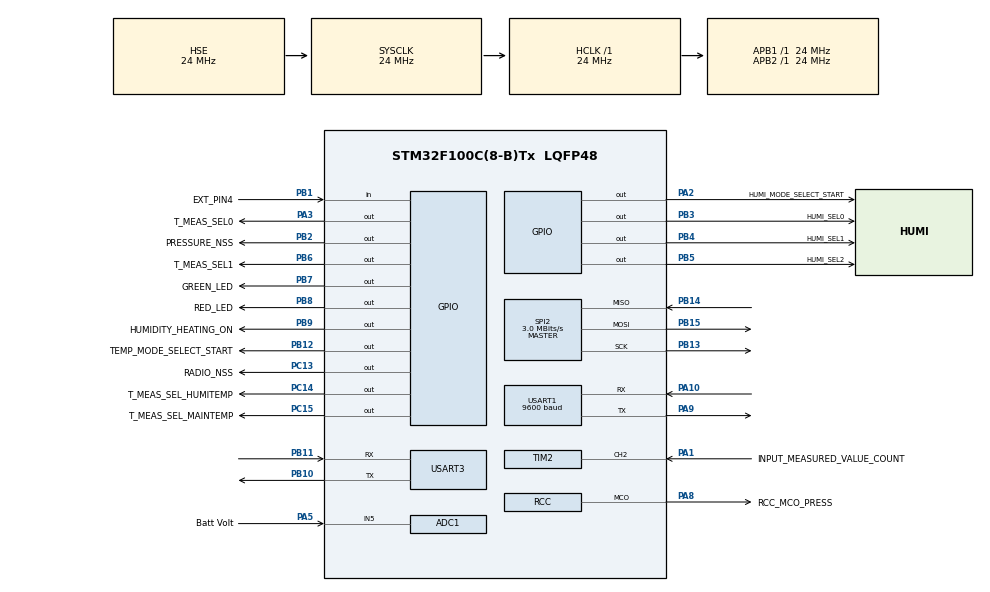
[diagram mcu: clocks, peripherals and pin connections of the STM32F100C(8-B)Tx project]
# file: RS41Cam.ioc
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ADC1.Channel-0\#ChannelRegularConversion=ADC_CHANNEL_5
ADC1.NbrOfConversionFlag=1
ADC1.Rank-0\#ChannelRegularConversion=1
ADC1.SamplingTime-0\#ChannelRegularConversion=ADC_SAMPLETIME_1CYCLE_5
ADC1.master=1
Mcu.Family=STM32F1
Mcu.Name=STM32F100C(8-B)Tx
Mcu.Package=LQFP48
NVIC.PriorityGroup=NVIC_PRIORITYGROUP_4
NVIC.TIM2_IRQn=true\:0\:0\:false\:false\:true\:true\:true\:true
NVIC.TIM6_DAC_IRQn=true\:15\:0\:false\:false\:true\:false\:true\:true
NVIC.TIM7_IRQn=true\:0\:0\:false\:false\:true\:true\:true\:true
NVIC.TimeBase=TIM6_DAC_IRQn
NVIC.TimeBaseIP=TIM6
PA1.GPIO_Label=INPUT_MEASURED_VALUE_COUNT
PA1.GPIO_Mode=GPIO_MODE_INPUT
PA1.GPIO_PuPd=GPIO_NOPULL
PA1.Signal=S_TIM2_CH2
PA10.Mode=Asynchronous
PA10.Signal=USART1_RX
PA13.Mode=Serial_Wire
PA13.Signal=SYS_JTMS-SWDIO
PA14.Mode=Serial_Wire
PA14.Signal=SYS_JTCK-SWCLK
PA2.GPIO_Label=HUMI_MODE_SELECT_START
PA2.GPIO_PuPd=GPIO_NOPULL
PA2.PinState=GPIO_PIN_RESET
PA2.Signal=GPIO_Output
PA3.GPIO_Label=T_MEAS_SEL0
PA3.Signal=GPIO_Output
PA5.GPIO_Label=Batt Volt
PA5.Signal=ADCx_IN5
PA8.GPIO_Label=RCC_MCO_PRESS
PA8.Mode=Clock-out
PA8.Signal=RCC_MCO
PA9.Mode=Asynchronous
PA9.Signal=USART1_TX
PB1.GPIO_Label=EXT_PIN4
PB1.Signal=GPIO_Input
PB10.Mode=Asynchronous
PB10.Signal=USART3_TX
PB11.Mode=Asynchronous
PB11.Signal=USART3_RX
PB12.GPIO_Label=TEMP_MODE_SELECT_START
PB12.GPIO_PuPd=GPIO_NOPULL
PB12.Signal=GPIO_Output
PB13.Mode=Full_Duplex_Master
PB13.Signal=SPI2_SCK
PB14.Mode=Full_Duplex_Master
PB14.Signal=SPI2_MISO
PB15.Mode=Full_Duplex_Master
PB15.Signal=SPI2_MOSI
PB2.GPIO_Label=PRESSURE_NSS
PB2.Signal=GPIO_Output
PB3.GPIO_Label=HUMI_SEL0
PB3.Signal=GPIO_Output
PB4.GPIO_Label=HUMI_SEL1
PB4.Signal=GPIO_Output
PB5.GPIO_Label=HUMI_SEL2
PB5.Signal=GPIO_Output
PB6.GPIO_Label=T_MEAS_SEL1
PB6.Signal=GPIO_Output
PB7.GPIO_Label=GREEN_LED
PB7.Signal=GPIO_Output
PB8.GPIO_Label=RED_LED
PB8.Signal=GPIO_Output
PB9.GPIO_Label=HUMIDITY_HEATING_ON
PB9.Signal=GPIO_Output
PC13-TAMPER-RTC.GPIO_Label=RADIO_NSS
PC13-TAMPER-RTC.Signal=GPIO_Output
PC14-OSC32_IN.GPIO_Label=T_MEAS_SEL_HUMITEMP
PC14-OSC32_IN.Signal=GPIO_Output
PC15-OSC32_OUT.GPIO_Label=T_MEAS_SEL_MAINTEMP
PC15-OSC32_OUT.Signal=GPIO_Output
PD0-OSC_IN.Mode=HSE-External-Oscillator
PD0-OSC_IN.Signal=RCC_OSC_IN
PD1-OSC_OUT.Mode=HSE-External-Oscillator
PD1-OSC_OUT.Signal=RCC_OSC_OUT
ProjectManager.HeapSize=0x200
ProjectManager.StackSize=0x400
ProjectManager.TargetToolchain=STM32CubeIDE
RCC.AHBFreq_Value=24000000
RCC.APB1Freq_Value=24000000
RCC.APB1TimFreq_Value=24000000
RCC.APB2Freq_Value=24000000
RCC.APB2TimFreq_Value=24000000
RCC.HCLKFreq_Value=24000000
RCC.HSEDivPLL=RCC_HSE_PREDIV_DIV2
RCC.HSE_VALUE=24000000
RCC.PLLSource=RCC_PLLSOURCE_HSE
RCC.RCC_MCOSource=RCC_MCO1SOURCE_HSE
RCC.SYSCLKFreq_VALUE=24000000
RCC.SYSCLKSource=RCC_SYSCLKSOURCE_HSE
SH.ADCx_IN5.0=ADC1_IN5,IN5
SH.S_TIM2_CH2.0=TIM2_CH2,Input_Capture2_from_TI2
SPI2.BaudRatePrescaler=SPI_BAUDRATEPRESCALER_8
SPI2.CalculateBaudRate=3.0 MBits/s
SPI2.Direction=SPI_DIRECTION_2LINES
SPI2.Mode=SPI_MODE_MASTER
SPI2.VirtualType=VM_MASTER
TIM2.Channel-Input_Capture2_from_TI2=TIM_CHANNEL_2
TIM2.Prescaler=0
TIM7.Period=1000
TIM7.Prescaler=23999
USART1.BaudRate=9600
USART1.VirtualMode=VM_ASYNC
USART3.VirtualMode=VM_ASYNC
VP_SYS_VS_tim6.Mode=TIM6
VP_TIM2_VS_ClockSourceINT.Mode=Internal
VP_TIM7_VS_ClockSourceINT.Mode=Enable_Timer
board=custom

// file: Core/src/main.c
/* USER CODE BEGIN Header */
/**
  ******************************************************************************
  * @file           : main.c
  * @brief          : Main program body
  ******************************************************************************
  * @attention
  *
  * <h2><center>&copy; Copyright (c) 2021 STMicroelectronics.
  * All rights reserved.</center></h2>
  *
  * This software component is licensed by ST under BSD 3-Clause license,
  * the "License"; You may not use this file except in compliance with the
  * License. You may obtain a copy of the License at:
  *                        opensource.org/licenses/BSD-3-Clause
  *
  ******************************************************************************
  */
/* USER CODE END Header */
#include "main.h"

/* USER CODE BEGIN Includes */
#include <string.h>
#include <stdlib.h>
#include <ublox.h>
#include "cam.h"
#include "led.h"
#include "radio.h"
#include "callSign.h"
#include "info.h"
#include "batt.h"
#include "internalTemp.h"
#include "pressure.h"
#include "Setup_Si4032.h"
#include "RPM411.h"
#include "config.h"

/* USER CODE END Includes */

ADC_HandleTypeDef hadc1;

SPI_HandleTypeDef hspi2;

TIM_HandleTypeDef htim2;
TIM_HandleTypeDef htim7;

UART_HandleTypeDef huart1;
UART_HandleTypeDef huart3;

void SystemClock_Config(void);
static void MX_GPIO_Init(void);
static void MX_SPI2_Init(void);
static void MX_USART1_UART_Init(void);
static void MX_ADC1_Init(void);
static void MX_USART3_UART_Init(void);
static void MX_TIM2_Init(void);
static void MX_TIM7_Init(void);

/* USER CODE BEGIN 0 */

int oneSecTic	    			= 0;

int resetSI4032			        = 0;
int sendGPSInfo					= 0;
int sendInfo					= 1;
int sendCallSignInfo			= 1;
int sendBattInfo    			= 1;
int sendInternalTemperatureInfo = 0;
#ifdef RPM411
int sendPressureInfo         	= 0;
#endif

void HAL_TIM_IC_CaptureCallback(TIM_HandleTypeDef *htim)
{

}

/* USER CODE END 0 */

int main(void)
{

  /* USER CODE BEGIN 1 */
  HAL_StatusTypeDef HAL_Status;

  uint8_t *camChunkBuf = NULL;

  GPS_StatusTypeDef gpsStatus	   = GPS_OK;

#ifdef RPM411
  RPM411StatusTypeDef RPM411Status = RPM411_OK;
#endif

  /* USER CODE END 1 */

  /* MCU Configuration--------------------------------------------------------*/

  /* Reset of all peripherals, Initializes the Flash interface and the Systick. */
  HAL_Init();

  /* Configure the system clock */
  SystemClock_Config();

  /* Initialize all configured peripherals */
  MX_GPIO_Init();
  MX_SPI2_Init();
  MX_USART1_UART_Init();
  MX_ADC1_Init();
  MX_USART3_UART_Init();
  MX_TIM2_Init();
  MX_TIM7_Init();
  /* USER CODE BEGIN 2 */

  struct rscode_driver rsDriver;

  camChunkBuf = (uint8_t*)calloc(CHUNCK_SIZE, sizeof(uint8_t));

  HAL_GPIO_WritePin(GPIOB, GREEN_LED_Pin, GPIO_PIN_RESET);
  HAL_Delay(4000); // For Cam POR
  HAL_GPIO_WritePin(GPIOB, RED_LED_Pin, GPIO_PIN_SET);

  gpsStatus = setGPS_DynamicModel6(&huart1); // - 6 􀀀 Airborne with <1g Acceleration HAB
  while(gpsStatus == GPS_FAIL)
  {
     gpsStatus = setGPS_DynamicModel6(&huart1);
	 HAL_GPIO_TogglePin(GPIOB, GREEN_LED_Pin);
  }

  gpsStatus = disableNMEA(&huart1);
  if(gpsStatus != GPS_FAIL)
  {
     // Nothing we can do
	 gpsStatus  = GPS_FAIL;
  }

  rscode_init(&rsDriver);

#ifdef RPM411
	RPM411Status = RPM411Init(&hspi2);
#endif

	HAL_Status = HAL_ERROR;
	while(HAL_Status != HAL_OK)
	{
		HAL_Status = setupRadio(&hspi2);
	}

	HAL_Status = clearRadio();

  /* USER CODE END 2 */

  /* Infinite loop */
  while (1)
  {

    /* USER CODE BEGIN 3 */
	    /* USER CODE END WHILE */

	if(resetSI4032)
	{
		HAL_Status = HAL_ERROR;
		while(HAL_Status != HAL_OK)
		{
			HAL_Status = setupRadio(&hspi2);
			HAL_Status = setRadio();
		}

		resetSI4032 = 0;
	}

	if(sendGPSInfo == 1)
	{
		processGPS(&rsDriver,&huart1);
		sendGPSInfo 	= 0;
	}

	if(sendInfo)
	{
		processInfo(&rsDriver);
		sendInfo = 0;
	}

	if(sendCallSignInfo)
	{
		processCallSign(&rsDriver);
		sendCallSignInfo = 0;
	}

	if(sendBattInfo)
	{
		processBattery(&rsDriver,&hadc1);
		HAL_Status = setRadio();
		sendBattInfo    = 0;
	}

	if(sendInternalTemperatureInfo)
	{
		processInternalTemp(&rsDriver);
		sendInternalTemperatureInfo = 0;
	}

#ifdef RPM411
	if(RPM411Status == RPM411_OK)
	{
		if(sendPressureInfo)
		{
			processPressure(&rsDriver);
			sendPressureInfo = 0;
		}
	}
#endif

	processCAM(&huart3,&rsDriver,camChunkBuf);

  }
  /* USER CODE END 3 */
}

void SystemClock_Config(void)
{
  RCC_OscInitTypeDef RCC_OscInitStruct = {0};
  RCC_ClkInitTypeDef RCC_ClkInitStruct = {0};
  RCC_PeriphCLKInitTypeDef PeriphClkInit = {0};

  /** Initializes the RCC Oscillators according to the specified parameters
  * in the RCC_OscInitTypeDef structure.
  */
  RCC_OscInitStruct.OscillatorType = RCC_OSCILLATORTYPE_HSE;
  RCC_OscInitStruct.HSEState = RCC_HSE_ON;
  RCC_OscInitStruct.PLL.PLLState = RCC_PLL_NONE;
  if (HAL_RCC_OscConfig(&RCC_OscInitStruct) != HAL_OK)
  {
    Error_Handler();
  }

  /** Initializes the CPU, AHB and APB buses clocks
  */
  RCC_ClkInitStruct.ClockType = RCC_CLOCKTYPE_HCLK|RCC_CLOCKTYPE_SYSCLK
                              |RCC_CLOCKTYPE_PCLK1|RCC_CLOCKTYPE_PCLK2;
  RCC_ClkInitStruct.SYSCLKSource = RCC_SYSCLKSOURCE_HSE;
  RCC_ClkInitStruct.AHBCLKDivider = RCC_SYSCLK_DIV1;
  RCC_ClkInitStruct.APB1CLKDivider = RCC_HCLK_DIV1;
  RCC_ClkInitStruct.APB2CLKDivider = RCC_HCLK_DIV1;

  if (HAL_RCC_ClockConfig(&RCC_ClkInitStruct, FLASH_LATENCY_0) != HAL_OK)
  {
    Error_Handler();
  }
  PeriphClkInit.PeriphClockSelection = RCC_PERIPHCLK_ADC;
  PeriphClkInit.AdcClockSelection = RCC_ADCPCLK2_DIV2;
  if (HAL_RCCEx_PeriphCLKConfig(&PeriphClkInit) != HAL_OK)
  {
    Error_Handler();
  }
  HAL_RCC_MCOConfig(RCC_MCO, RCC_MCO1SOURCE_HSE, RCC_MCODIV_1);
}

static void MX_ADC1_Init(void)
{

  ADC_ChannelConfTypeDef sConfig = {0};

  /** Common config
  */
  hadc1.Instance = ADC1;
  hadc1.Init.ScanConvMode = ADC_SCAN_DISABLE;
  hadc1.Init.ContinuousConvMode = DISABLE;
  hadc1.Init.DiscontinuousConvMode = DISABLE;
  hadc1.Init.ExternalTrigConv = ADC_SOFTWARE_START;
  hadc1.Init.DataAlign = ADC_DATAALIGN_RIGHT;
  hadc1.Init.NbrOfConversion = 1;
  if (HAL_ADC_Init(&hadc1) != HAL_OK)
  {
    Error_Handler();
  }

  /** Configure Regular Channel
  */
  sConfig.Channel = ADC_CHANNEL_5;
  sConfig.Rank = ADC_REGULAR_RANK_1;
  sConfig.SamplingTime = ADC_SAMPLETIME_1CYCLE_5;
  if (HAL_ADC_ConfigChannel(&hadc1, &sConfig) != HAL_OK)
  {
    Error_Handler();
  }

}

static void MX_SPI2_Init(void)
{

  /* SPI2 parameter configuration*/
  hspi2.Instance = SPI2;
  hspi2.Init.Mode = SPI_MODE_MASTER;
  hspi2.Init.Direction = SPI_DIRECTION_2LINES;
  hspi2.Init.DataSize = SPI_DATASIZE_8BIT;
  hspi2.Init.CLKPolarity = SPI_POLARITY_LOW;
  hspi2.Init.CLKPhase = SPI_PHASE_1EDGE;
  hspi2.Init.NSS = SPI_NSS_SOFT;
  hspi2.Init.BaudRatePrescaler = SPI_BAUDRATEPRESCALER_8;
  hspi2.Init.FirstBit = SPI_FIRSTBIT_MSB;
  hspi2.Init.TIMode = SPI_TIMODE_DISABLE;
  hspi2.Init.CRCCalculation = SPI_CRCCALCULATION_DISABLE;
  hspi2.Init.CRCPolynomial = 10;
  if (HAL_SPI_Init(&hspi2) != HAL_OK)
  {
    Error_Handler();
  }

}

static void MX_TIM2_Init(void)
{

  TIM_ClockConfigTypeDef sClockSourceConfig = {0};
  TIM_MasterConfigTypeDef sMasterConfig = {0};
  TIM_IC_InitTypeDef sConfigIC = {0};

  htim2.Instance = TIM2;
  htim2.Init.Prescaler = 0;
  htim2.Init.CounterMode = TIM_COUNTERMODE_UP;
  htim2.Init.Period = 65535;
  htim2.Init.ClockDivision = TIM_CLOCKDIVISION_DIV1;
  htim2.Init.AutoReloadPreload = TIM_AUTORELOAD_PRELOAD_DISABLE;
  if (HAL_TIM_Base_Init(&htim2) != HAL_OK)
  {
    Error_Handler();
  }
  sClockSourceConfig.ClockSource = TIM_CLOCKSOURCE_INTERNAL;
  if (HAL_TIM_ConfigClockSource(&htim2, &sClockSourceConfig) != HAL_OK)
  {
    Error_Handler();
  }
  if (HAL_TIM_IC_Init(&htim2) != HAL_OK)
  {
    Error_Handler();
  }
  sMasterConfig.MasterOutputTrigger = TIM_TRGO_RESET;
  sMasterConfig.MasterSlaveMode = TIM_MASTERSLAVEMODE_DISABLE;
  if (HAL_TIMEx_MasterConfigSynchronization(&htim2, &sMasterConfig) != HAL_OK)
  {
    Error_Handler();
  }
  sConfigIC.ICPolarity = TIM_INPUTCHANNELPOLARITY_RISING;
  sConfigIC.ICSelection = TIM_ICSELECTION_DIRECTTI;
  sConfigIC.ICPrescaler = TIM_ICPSC_DIV1;
  sConfigIC.ICFilter = 0;
  if (HAL_TIM_IC_ConfigChannel(&htim2, &sConfigIC, TIM_CHANNEL_2) != HAL_OK)
  {
    Error_Handler();
  }
  /* USER CODE BEGIN TIM2_Init 2 */

  if (HAL_TIM_IC_Start_IT(&htim2, TIM_CHANNEL_2) != HAL_OK)
  {
    Error_Handler();
  }

  /* USER CODE END TIM2_Init 2 */

}

static void MX_TIM7_Init(void)
{

  TIM_MasterConfigTypeDef sMasterConfig = {0};

  htim7.Instance = TIM7;
  htim7.Init.Prescaler = 23999;
  htim7.Init.CounterMode = TIM_COUNTERMODE_UP;
  htim7.Init.Period = 1000;
  htim7.Init.AutoReloadPreload = TIM_AUTORELOAD_PRELOAD_DISABLE;
  if (HAL_TIM_Base_Init(&htim7) != HAL_OK)
  {
    Error_Handler();
  }
  sMasterConfig.MasterOutputTrigger = TIM_TRGO_RESET;
  sMasterConfig.MasterSlaveMode = TIM_MASTERSLAVEMODE_DISABLE;
  if (HAL_TIMEx_MasterConfigSynchronization(&htim7, &sMasterConfig) != HAL_OK)
  {
    Error_Handler();
  }
  /* USER CODE BEGIN TIM7_Init 2 */

  if (HAL_TIM_Base_Start_IT(&htim7) != HAL_OK)
  {
    Error_Handler();
  }

  /* USER CODE END TIM7_Init 2 */

}

static void MX_USART1_UART_Init(void)
{

  huart1.Instance = USART1;
  huart1.Init.BaudRate = 9600;
  huart1.Init.WordLength = UART_WORDLENGTH_8B;
  huart1.Init.StopBits = UART_STOPBITS_1;
  huart1.Init.Parity = UART_PARITY_NONE;
  huart1.Init.Mode = UART_MODE_TX_RX;
  huart1.Init.HwFlowCtl = UART_HWCONTROL_NONE;
  huart1.Init.OverSampling = UART_OVERSAMPLING_16;
  if (HAL_UART_Init(&huart1) != HAL_OK)
  {
    Error_Handler();
  }

}

static void MX_USART3_UART_Init(void)
{

  huart3.Instance = USART3;
  huart3.Init.BaudRate = 115200;
  huart3.Init.WordLength = UART_WORDLENGTH_8B;
  huart3.Init.StopBits = UART_STOPBITS_1;
  huart3.Init.Parity = UART_PARITY_NONE;
  huart3.Init.Mode = UART_MODE_TX_RX;
  huart3.Init.HwFlowCtl = UART_HWCONTROL_NONE;
  huart3.Init.OverSampling = UART_OVERSAMPLING_16;
  if (HAL_UART_Init(&huart3) != HAL_OK)
  {
    Error_Handler();
  }

}

static void MX_GPIO_Init(void)
{
  GPIO_InitTypeDef GPIO_InitStruct = {0};

  /* GPIO Ports Clock Enable */
  __HAL_RCC_GPIOC_CLK_ENABLE();
  __HAL_RCC_GPIOD_CLK_ENABLE();
  __HAL_RCC_GPIOA_CLK_ENABLE();
  __HAL_RCC_GPIOB_CLK_ENABLE();

  /*Configure GPIO pin Output Level */
  HAL_GPIO_WritePin(GPIOC, RADIO_NSS_Pin|T_MEAS_SEL_HUMITEMP_Pin|T_MEAS_SEL_MAINTEMP_Pin, GPIO_PIN_RESET);

  /*Configure GPIO pin Output Level */
  HAL_GPIO_WritePin(GPIOA, HUMI_MODE_SELECT_START_Pin|T_MEAS_SEL0_Pin, GPIO_PIN_RESET);

  /*Configure GPIO pin Output Level */
  HAL_GPIO_WritePin(GPIOB, PRESSURE_NSS_Pin|TEMP_MODE_SELECT_START_Pin|HUMI_SEL0_Pin|HUMI_SEL1_Pin
                          |HUMI_SEL2_Pin|T_MEAS_SEL1_Pin|GREEN_LED_Pin|RED_LED_Pin
                          |HUMIDITY_HEATING_ON_Pin, GPIO_PIN_RESET);

  /*Configure GPIO pins : RADIO_NSS_Pin T_MEAS_SEL_HUMITEMP_Pin T_MEAS_SEL_MAINTEMP_Pin */
  GPIO_InitStruct.Pin = RADIO_NSS_Pin|T_MEAS_SEL_HUMITEMP_Pin|T_MEAS_SEL_MAINTEMP_Pin;
  GPIO_InitStruct.Mode = GPIO_MODE_OUTPUT_PP;
  GPIO_InitStruct.Pull = GPIO_NOPULL;
  GPIO_InitStruct.Speed = GPIO_SPEED_FREQ_LOW;
  HAL_GPIO_Init(GPIOC, &GPIO_InitStruct);

  /*Configure GPIO pins : HUMI_MODE_SELECT_START_Pin T_MEAS_SEL0_Pin */
  GPIO_InitStruct.Pin = HUMI_MODE_SELECT_START_Pin|T_MEAS_SEL0_Pin;
  GPIO_InitStruct.Mode = GPIO_MODE_OUTPUT_PP;
  GPIO_InitStruct.Pull = GPIO_NOPULL;
  GPIO_InitStruct.Speed = GPIO_SPEED_FREQ_LOW;
  HAL_GPIO_Init(GPIOA, &GPIO_InitStruct);

  /*Configure GPIO pin : EXT_PIN4_Pin */
  GPIO_InitStruct.Pin = EXT_PIN4_Pin;
  GPIO_InitStruct.Mode = GPIO_MODE_INPUT;
  GPIO_InitStruct.Pull = GPIO_NOPULL;
  HAL_GPIO_Init(EXT_PIN4_GPIO_Port, &GPIO_InitStruct);

  /*Configure GPIO pins : PRESSURE_NSS_Pin TEMP_MODE_SELECT_START_Pin HUMI_SEL0_Pin HUMI_SEL1_Pin
                           HUMI_SEL2_Pin T_MEAS_SEL1_Pin GREEN_LED_Pin RED_LED_Pin
                           HUMIDITY_HEATING_ON_Pin */
  GPIO_InitStruct.Pin = PRESSURE_NSS_Pin|TEMP_MODE_SELECT_START_Pin|HUMI_SEL0_Pin|HUMI_SEL1_Pin
                          |HUMI_SEL2_Pin|T_MEAS_SEL1_Pin|GREEN_LED_Pin|RED_LED_Pin
                          |HUMIDITY_HEATING_ON_Pin;
  GPIO_InitStruct.Mode = GPIO_MODE_OUTPUT_PP;
  GPIO_InitStruct.Pull = GPIO_NOPULL;
  GPIO_InitStruct.Speed = GPIO_SPEED_FREQ_LOW;
  HAL_GPIO_Init(GPIOB, &GPIO_InitStruct);

  /*Configure GPIO pin : RCC_MCO_PRESS_Pin */
  GPIO_InitStruct.Pin = RCC_MCO_PRESS_Pin;
  GPIO_InitStruct.Mode = GPIO_MODE_AF_PP;
  GPIO_InitStruct.Speed = GPIO_SPEED_FREQ_LOW;
  HAL_GPIO_Init(RCC_MCO_PRESS_GPIO_Port, &GPIO_InitStruct);

}

void HAL_TIM_PeriodElapsedCallback(TIM_HandleTypeDef *htim)
{
  if (htim->Instance == TIM6) {
    HAL_IncTick();
  }
  /* USER CODE BEGIN Callback 1 */

  if (htim->Instance == TIM7)
  {
	  HAL_GPIO_TogglePin(GPIOB, GREEN_LED_Pin);
	  oneSecTic++;

	  if(oneSecTic % 30 == 0)
	  {
		  sendGPSInfo = 1;
	  }

	  if(oneSecTic % 600 == 0)
	  {
		  sendInfo = 1;
	  }

	  if(oneSecTic % 600 == 0)
	  {
		  sendCallSignInfo = 1;
	  }

	  if(oneSecTic % 60 == 0)
	  {
		  sendBattInfo = 1;
	  }

	  if(oneSecTic % 60 == 0)
	  {
		  sendInternalTemperatureInfo = 1;
	  }

#ifdef RPM411
	  if(oneSecTic % 20 == 0)
	  {
		  sendPressureInfo = 1;
	  }
#endif

	  if(oneSecTic % 300 == 0)
	  {
		  resetSI4032 = 1;
	  }
  }

  /* USER CODE END Callback 1 */
}

void Error_Handler(void)
{
  __disable_irq();
  while (1)
  {
  }
}
